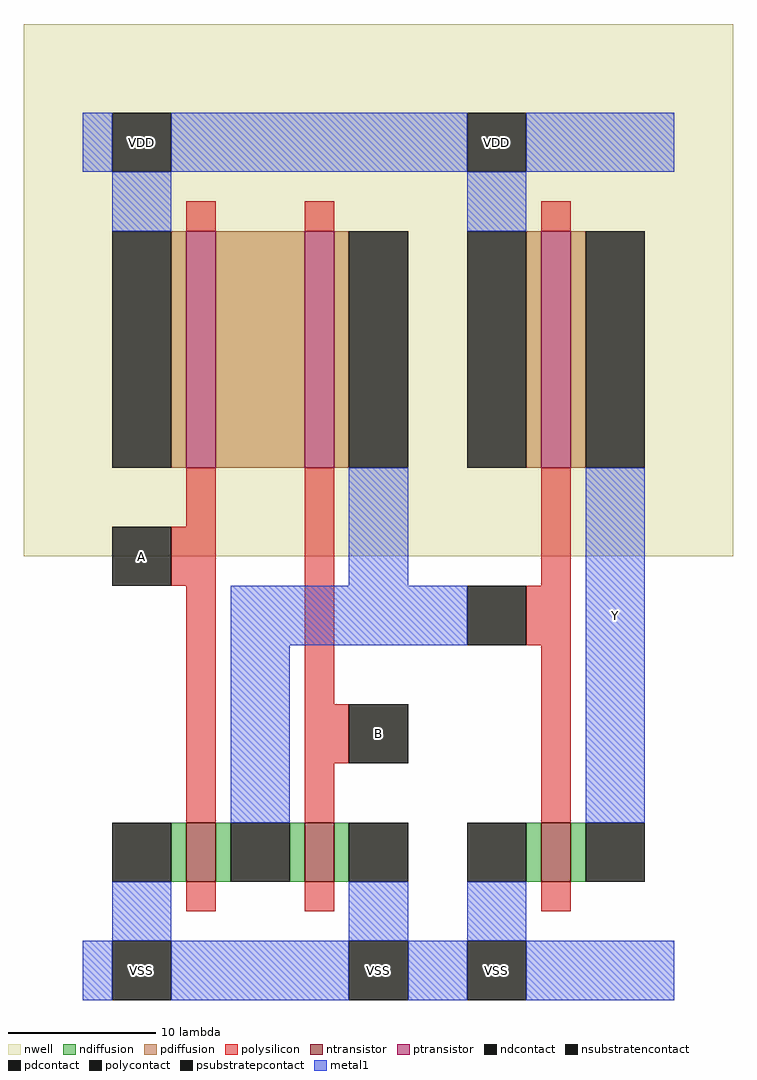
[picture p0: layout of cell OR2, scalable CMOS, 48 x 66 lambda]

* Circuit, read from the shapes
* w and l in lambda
.subckt OR2 A B VDD VSS Y
M1 n1 A VSS VSS nfet w=4 l=2
M2 VSS B n1 VSS nfet w=4 l=2
M3 Y n1 VSS VSS nfet w=4 l=2
M4 n2 A VDD VDD pfet w=16 l=2
M5 n1 B n2 VDD pfet w=16 l=2
M6 Y n1 VDD VDD pfet w=16 l=2
.ends

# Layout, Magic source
magic
tech scmos
<< nwell >>
rect -4 30 44 66
<< ntransistor >>
rect 7 8 9 12
rect 15 8 17 12
rect 31 8 33 12
<< ptransistor >>
rect 7 36 9 52
rect 15 36 17 52
rect 31 36 33 52
<< ndiffusion >>
rect 6 8 7 12
rect 9 8 10 12
rect 14 8 15 12
rect 17 8 18 12
rect 30 8 31 12
rect 33 8 34 12
<< pdiffusion >>
rect 6 36 7 52
rect 9 36 15 52
rect 17 36 18 52
rect 30 36 31 52
rect 33 36 34 52
<< ndcontact >>
rect 2 8 6 12
rect 10 8 14 12
rect 18 8 22 12
rect 26 8 30 12
rect 34 8 38 12
<< pdcontact >>
rect 2 36 6 52
rect 18 36 22 52
rect 26 36 30 52
rect 34 36 38 52
<< psubstratepcontact >>
rect 2 0 6 4
rect 18 0 22 4
rect 26 0 30 4
<< nsubstratencontact >>
rect 2 56 6 60
rect 26 56 30 60
<< polysilicon >>
rect 7 52 9 54
rect 15 52 17 54
rect 31 52 33 54
rect 7 32 9 36
rect 6 28 9 32
rect 7 12 9 28
rect 15 20 17 36
rect 31 28 33 36
rect 30 24 33 28
rect 15 16 18 20
rect 15 12 17 16
rect 31 12 33 24
rect 7 6 9 8
rect 15 6 17 8
rect 31 6 33 8
<< polycontact >>
rect 2 28 6 32
rect 26 24 30 28
rect 18 16 22 20
<< metal1 >>
rect 0 56 2 60
rect 6 56 26 60
rect 30 56 40 60
rect 2 52 6 56
rect 26 52 30 56
rect 18 28 22 36
rect 10 24 26 28
rect 10 12 14 24
rect 34 12 38 36
rect 2 4 6 8
rect 18 4 22 8
rect 26 4 30 8
rect 0 0 2 4
rect 6 0 18 4
rect 22 0 26 4
rect 30 0 40 4
<< labels >>
rlabel polycontact 20 18 20 18 7 B
rlabel psubstratepcontact 4 2 4 2 2 VSS
rlabel psubstratepcontact 20 2 20 2 8 VSS
rlabel psubstratepcontact 28 2 28 2 1 VSS
rlabel nsubstratencontact 4 58 4 58 4 VDD
rlabel polycontact 4 30 4 30 3 A
rlabel metal1 36 26 36 26 1 Y
rlabel nsubstratencontact 28 58 28 58 1 VDD
<< end >>
